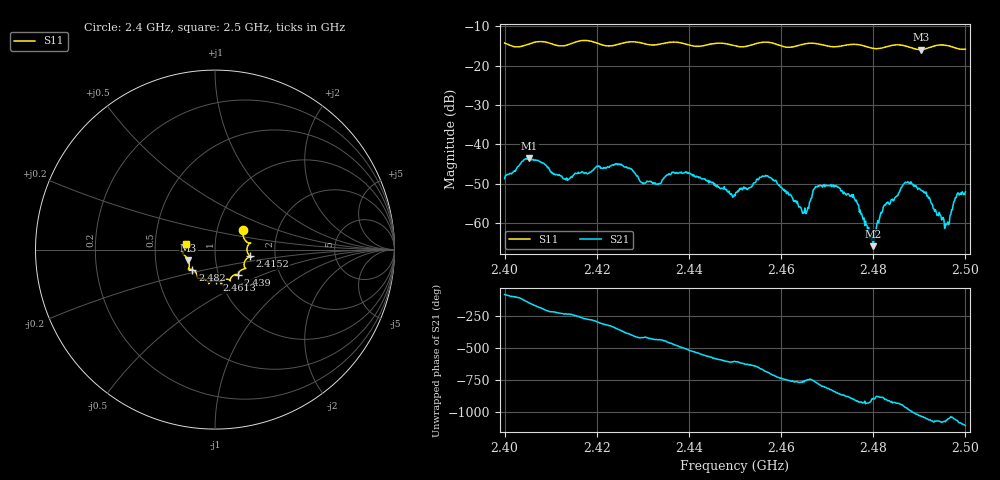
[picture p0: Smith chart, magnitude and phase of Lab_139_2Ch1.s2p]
# Hz S RI R 50
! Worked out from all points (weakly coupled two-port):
!   601 points, 2.4 GHz to 2.5 GHz, reference 50 ohm
!   highest |S21| = -43.58 dB at 2.4053 GHz (marker M1); lowest = -65.9 dB at 2.48 GHz (marker M2)
!   lowest |S11| = -15.9 dB at 2.4903 GHz (marker M3), VSWR 1.38, Z = 36.8 - j4.47 ohm
!   |S11| at or under -10 dB: start of sweep to end of sweep
!   S12 and S22 are empty: the file has one direction only
!   S11 on the Smith chart (normalised r, x): 2.4 GHz: 1.33, +0.31; 2.4152 GHz: 1.48, -0.11; 2.439 GHz: 1.24, -0.36; 2.4613 GHz: 0.96, -0.34; 2.482 GHz: 0.76, -0.17; 2.5 GHz: 0.72, +0.05
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2.4e9  0.1581 0.1119  0.000632 -0.0036  0 0  0 0
2.405333e9  0.1855 0.0369  -0.00546 -0.00375  0 0  0 0
2.415167e9  0.1938 -0.0372  -0.00183 0.00375  0 0  0 0
2.416667e9  0.2036 -0.0439  -0.000635 0.00436  0 0  0 0
2.424833e9  0.1632 -0.0943  0.00548 0.000397  0 0  0 0
2.433333e9  0.1324 -0.1313  0.00078 -0.00298  0 0  0 0
2.439e9  0.1288 -0.1399  -0.00336 -0.00275  0 0  0 0
2.45e9  0.069 -0.1648  -0.000958 0.00199  0 0  0 0
2.4565e9  0.0378 -0.1957  0.00297 0.00258  0 0  0 0
2.461333e9  0.00744 -0.1714  0.00212 -0.00127  0 0  0 0
2.465e9  -0.0334 -0.1856  0.000948 -0.000948  0 0  0 0
2.466667e9  -0.0351 -0.1901  0.00184 -0.00098  0 0  0 0
2.469667e9  -0.041 -0.1754  0.000142 -0.00303  0 0  0 0
2.475167e9  -0.0936 -0.1609  -0.00219 -0.000234  0 0  0 0
2.48e9  -0.1066 -0.1272  -0.000501 -6.08e-05  0 0  0 0
2.482e9  -0.1259 -0.1117  -0.00134 -0.000382  0 0  0 0
2.483333e9  -0.1395 -0.1086  -0.00175 0.000335  0 0  0 0
2.487e9  -0.1457 -0.1021  -0.00144 0.00296  0 0  0 0
2.490333e9  -0.149 -0.0591  0.00173 0.00195  0 0  0 0
2.496e9  -0.1798 -0.0173  0.000933 0.000278  0 0  0 0
2.498e9  -0.1669 -0.000521  0.00202 0.000581  0 0  0 0
2.5e9  -0.1591 0.0326  0.00223 -0.00106  0 0  0 0
